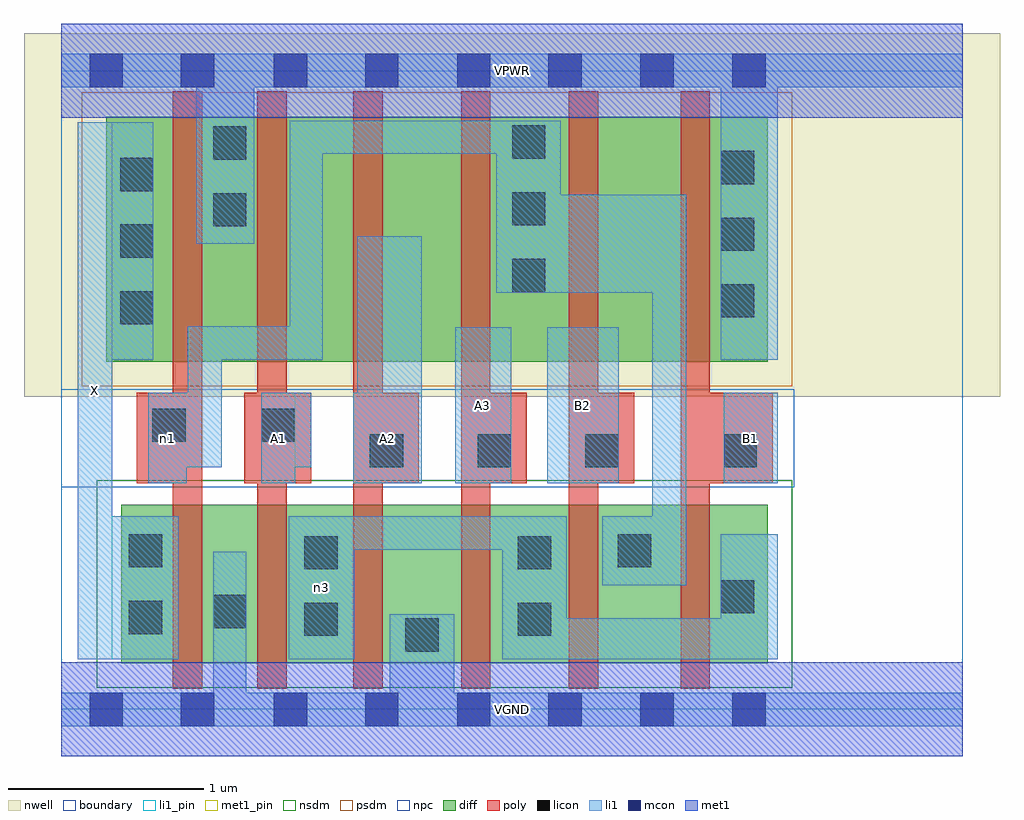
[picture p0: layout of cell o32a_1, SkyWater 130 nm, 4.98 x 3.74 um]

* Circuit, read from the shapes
.subckt o32a_1 A1 A2 A3 B1 B2 VGND VPWR X n1 n3
XM1 VGND n1 X VSUBS sky130_fd_pr__nfet_01v8 w=0.81 l=0.15
XM2 n3 A1 VGND VSUBS sky130_fd_pr__nfet_01v8 w=0.81 l=0.15
XM3 VGND A2 n3 VSUBS sky130_fd_pr__nfet_01v8 w=0.81 l=0.15
XM4 n3 A3 VGND VSUBS sky130_fd_pr__nfet_01v8 w=0.81 l=0.15
XM5 n1 B2 n3 VSUBS sky130_fd_pr__nfet_01v8 w=0.81 l=0.15
XM6 n3 B1 n1 VSUBS sky130_fd_pr__nfet_01v8 w=0.81 l=0.15
XM7 VPWR n1 X n2 sky130_fd_pr__pfet_01v8 w=1.25 l=0.15
XM8 n4 A1 VPWR n2 sky130_fd_pr__pfet_01v8 w=1.25 l=0.15
XM9 n5 A2 n4 n2 sky130_fd_pr__pfet_01v8 w=1.25 l=0.15
XM10 n1 A3 n5 n2 sky130_fd_pr__pfet_01v8 w=1.25 l=0.15
XM11 n6 B2 n1 n2 sky130_fd_pr__pfet_01v8 w=1.25 l=0.15
XM12 VPWR B1 n6 n2 sky130_fd_pr__pfet_01v8 w=1.25 l=0.15
.ends

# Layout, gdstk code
import gdstk
lib = gdstk.Library(unit=1e-6, precision=1e-09)
def R(c, l, rs):  # rectangles x0, y0, x1, y1
    for r in rs: c.add(gdstk.rectangle(r[:2], r[2:], *l))
def A(c, l, x, y, w, h, nx, ny, dx, dy):  # array of equal rectangles
    R(c, l, [(x+i*dx, y+j*dy, x+i*dx+w, y+j*dy+h) for i in range(nx) for j in range(ny)])
nwell = (64, 20)
diff = (65, 20)
poly = (66, 20)
licon = (66, 44)
li1_pin = (67, 16)
li1 = (67, 20)
mcon = (67, 44)
met1_pin = (68, 16)
met1 = (68, 20)
nsdm = (93, 44)
psdm = (94, 20)
npc = (95, 20)
boundary = (235, 4)

o32a_1 = lib.new_cell('o32a_1')
R(o32a_1, nwell, [(-0.19,1.595,4.79,3.45), (0,1.595,4.6,3.45)])
R(o32a_1, diff, [(0.305,0.235,3.605,1.045), (0.23,1.775,3.605,3.025)])
A(o32a_1, poly, 1.49, 0.105, 0.15, 3.05, 3, 1, 0.55, 0)
A(o32a_1, poly, 1.49, 1.155, 0.335, 0.46, 3, 1, 0.55, 0)
R(o32a_1, poly, [(0.57,0.105,0.72,3.155), (1,0.105,1.15,3.155), (3.16,0.105,3.31,3.155), (0.385,1.155,0.72,1.615), (0.935,1.155,1.275,1.615), (3.16,1.155,3.63,1.615)])
A(o32a_1, licon, 1.575, 1.235, 0.17, 0.17, 3, 1, 0.55, 0)
A(o32a_1, licon, 0.3, 1.965, 0.17, 0.17, 1, 3, 0, 0.34)
A(o32a_1, licon, 3.365, 2, 0.17, 0.17, 1, 3, 0, 0.34)
A(o32a_1, licon, 2.3, 2.13, 0.17, 0.17, 1, 3, 0, 0.34)
R(o32a_1, licon, [(1.755,0.295,1.925,0.465), (1.24,0.375,1.41,0.545), (2.33,0.375,2.5,0.545), (0.345,0.385,0.515,0.555), (0.775,0.415,0.945,0.585), (3.365,0.49,3.535,0.66), (1.24,0.715,1.41,0.885), (2.33,0.715,2.5,0.885), (0.345,0.725,0.515,0.895), (2.84,0.725,3.01,0.895), (3.38,1.235,3.55,1.405), (0.465,1.365,0.635,1.535), (1.02,1.365,1.19,1.535), (0.775,2.465,0.945,2.635), (0.775,2.805,0.945,2.975)])
R(o32a_1, li1_pin, [(0.085,0.255,0.26,2.995), (1.02,1.155,1.195,1.615), (1.49,1.155,1.84,1.615), (2.01,1.155,2.295,1.95), (2.48,1.155,2.845,1.95), (3.38,1.155,3.655,1.615)])
R(o32a_1, li1, [(0,-0.085,4.6,0.085), (0.775,-0.085,0.945,0.805), (1.675,-0.085,2.005,0.485), (0.085,0.255,0.26,2.995), (0.085,0.255,0.6,0.985), (1.16,0.255,1.495,0.985), (2.25,0.255,3.655,0.465), (2.25,0.255,2.58,0.985), (3.365,0.255,3.655,0.895), (2.76,0.635,3.19,0.985), (3.015,0.635,3.19,2.625), (1.16,0.815,2.58,0.985), (0.445,1.155,0.64,1.615), (1.02,1.155,1.195,1.615), (1.49,1.155,1.84,1.615), (1.51,1.155,1.84,2.415), (2.01,1.155,2.295,1.95), (2.48,1.155,2.845,1.95), (3.38,1.155,3.655,1.615), (0.445,1.235,0.82,1.615), (0.645,1.235,0.82,1.955), (1.02,1.235,1.275,1.615), (0.085,1.785,0.47,2.995), (0.645,1.785,1.335,1.955), (1.165,1.785,1.335,3.005), (3.365,1.785,3.655,3.345), (2.22,2.125,3.19,2.625), (2.22,2.125,2.55,3.005), (0.69,2.375,0.985,3.345), (1.165,2.835,2.55,3.005), (0,3.175,4.6,3.345)])
A(o32a_1, mcon, 2.485, -0.085, 0.17, 0.17, 3, 2, 0.47, 3.26)
R(o32a_1, mcon, [(0.145,-0.085,0.315,0.085), (0.61,-0.085,0.78,0.085), (1.085,-0.085,1.255,0.085), (1.55,-0.085,1.72,0.085), (2.02,-0.085,2.19,0.085), (0.145,3.175,0.315,3.345), (0.61,3.175,0.78,3.345), (1.085,3.175,1.255,3.345), (1.55,3.175,1.72,3.345), (2.02,3.175,2.19,3.345)])
R(o32a_1, met1_pin, [(0,-0.24,4.6,0.24), (0,3.02,4.6,3.5)])
R(o32a_1, met1, [(0,-0.24,4.6,0.24), (0,3.02,4.6,3.5)])
R(o32a_1, nsdm, [(0.18,0.11,3.73,1.17)])
R(o32a_1, psdm, [(0.105,1.65,3.73,3.15)])
R(o32a_1, npc, [(0,1.135,3.74,1.635)])
R(o32a_1, boundary, [(0,0,4.6,3.26)])
o32a_1.add(gdstk.Label('A1', (1.107,1.385), layer=67, texttype=5))
o32a_1.add(gdstk.Label('A2', (1.665,1.385), layer=67, texttype=5))
o32a_1.add(gdstk.Label('A3', (2.152,1.552), layer=67, texttype=5))
o32a_1.add(gdstk.Label('B1', (3.517,1.385), layer=67, texttype=5))
o32a_1.add(gdstk.Label('B2', (2.662,1.552), layer=67, texttype=5))
o32a_1.add(gdstk.Label('X', (0.172,1.625), layer=67, texttype=5))
o32a_1.add(gdstk.Label('n3', (1.327,0.62), layer=67, texttype=5))
o32a_1.add(gdstk.Label('n1', (0.542,1.385), layer=67, texttype=5))
o32a_1.add(gdstk.Label('VPWR', (2.3,3.26), layer=68, texttype=5))
o32a_1.add(gdstk.Label('VGND', (2.3,0), layer=68, texttype=5))
o32a_1.add(gdstk.Label('A1', (1.107,1.385), layer=67, texttype=16))
o32a_1.add(gdstk.Label('A2', (1.665,1.385), layer=67, texttype=16))
o32a_1.add(gdstk.Label('A3', (2.152,1.552), layer=67, texttype=16))
o32a_1.add(gdstk.Label('B1', (3.517,1.385), layer=67, texttype=16))
o32a_1.add(gdstk.Label('B2', (2.662,1.552), layer=67, texttype=16))
o32a_1.add(gdstk.Label('X', (0.172,1.625), layer=67, texttype=16))
o32a_1.add(gdstk.Label('VPWR', (2.3,3.26), layer=68, texttype=16))
o32a_1.add(gdstk.Label('VGND', (2.3,0), layer=68, texttype=16))

lib.write_gds('o32a_1.gds')
